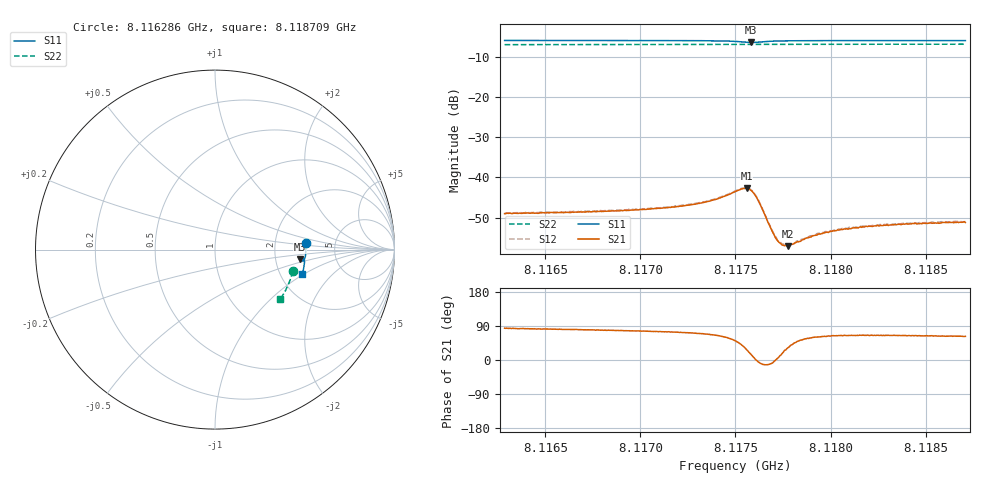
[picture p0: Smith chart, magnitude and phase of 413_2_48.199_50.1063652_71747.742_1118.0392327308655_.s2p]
#  HZ  S  RI  R  50.00
! Rohde & Schwarz Vector Network Analyzer
! Rohde-Schwarz,ZNB20-2Port,1311601062101988,3.16
! Created: UTC 3/20/2024, 11:54:36 AM
! freq[Hz]  re:S11  im:S11  re:S21  im:S21  re:S12  im:S12  re:S22  im:S22
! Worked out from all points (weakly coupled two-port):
!   401 points, 8.116286 GHz to 8.118709 GHz, reference 50 ohm
!   highest |S21| = -42.72 dB at 8.117558 GHz (marker M1); lowest = -57.1 dB at 8.117776 GHz (marker M2)
!   lowest |S11| = -6.4 dB at 8.117583 GHz (marker M3), VSWR 2.84, Z = 139 - j19.6 ohm
!   |S11| at or under -10 dB: nowhere
!   |S22| runs from -6.9 to -6.8 dB; largest |S21 - S12| = 0.00019
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8.1162862e9  0.5056 0.0371  0.000377 0.00351  0.000461 0.00359  0.433 -0.1206
8.1166921e9  0.5065 0.00628  0.000646 0.00364  0.000709 0.0037  0.4257 -0.1476
8.1170979e9  0.5049 -0.0254  0.00108 0.00398  0.0011 0.00403  0.4166 -0.1746
8.1173281e9  0.5016 -0.0455  0.00169 0.00454  0.00182 0.0046  0.4106 -0.1897
8.1174069e9  0.4986 -0.0533  0.00231 0.00489  0.00238 0.00496  0.4083 -0.1948
8.1174977e9  0.49 -0.0627  0.00417 0.00517  0.00431 0.00524  0.4053 -0.2005
8.1175341e9  0.4829 -0.0633  0.00557 0.00454  0.00571 0.00458  0.404 -0.2026
8.1175583e9  0.4778 -0.0605  0.00647 0.00341  0.00658 0.00341  0.4032 -0.2041
8.1175825e9  0.4755 -0.0546  0.00665 0.0017  0.00681 0.00167  0.4025 -0.2052
8.1176007e9  0.4768 -0.0499  0.00613 0.000407  0.00623 0.000399  0.4021 -0.2061
8.1176189e9  0.4804 -0.0468  0.00517 -0.00041  0.00532 -0.000427  0.4018 -0.207
8.1176795e9  0.4924 -0.0489  0.00247 -0.000485  0.00252 -0.000514  0.4007 -0.2111
8.1177158e9  0.496 -0.0535  0.0017 5.7e-05  0.00176 1.57e-05  0.3996 -0.2134
8.117734e9  0.4968 -0.0557  0.00149 0.000299  0.00155 0.000314  0.3991 -0.2145
8.1177461e9  0.4975 -0.0573  0.00137 0.00043  0.0014 0.000449  0.3989 -0.2153
8.1177582e9  0.4979 -0.0587  0.00127 0.000603  0.00132 0.000568  0.3985 -0.2162
8.1177764e9  0.4983 -0.0608  0.00118 0.000743  0.0012 0.00078  0.3979 -0.2173
8.1179036e9  0.4987 -0.0737  0.000953 0.0016  0.000963 0.00161  0.3939 -0.2254
8.1180066e9  0.4977 -0.0826  0.000935 0.00191  0.000945 0.00193  0.3906 -0.232
8.1181096e9  0.4965 -0.0911  0.000969 0.00209  0.00105 0.00215  0.387 -0.2382
8.1183095e9  0.4935 -0.1065  0.00108 0.0023  0.00113 0.00237  0.38 -0.2502
8.1187093e9  0.486 -0.136  0.00127 0.00243  0.00131 0.00251  0.3647 -0.2739
